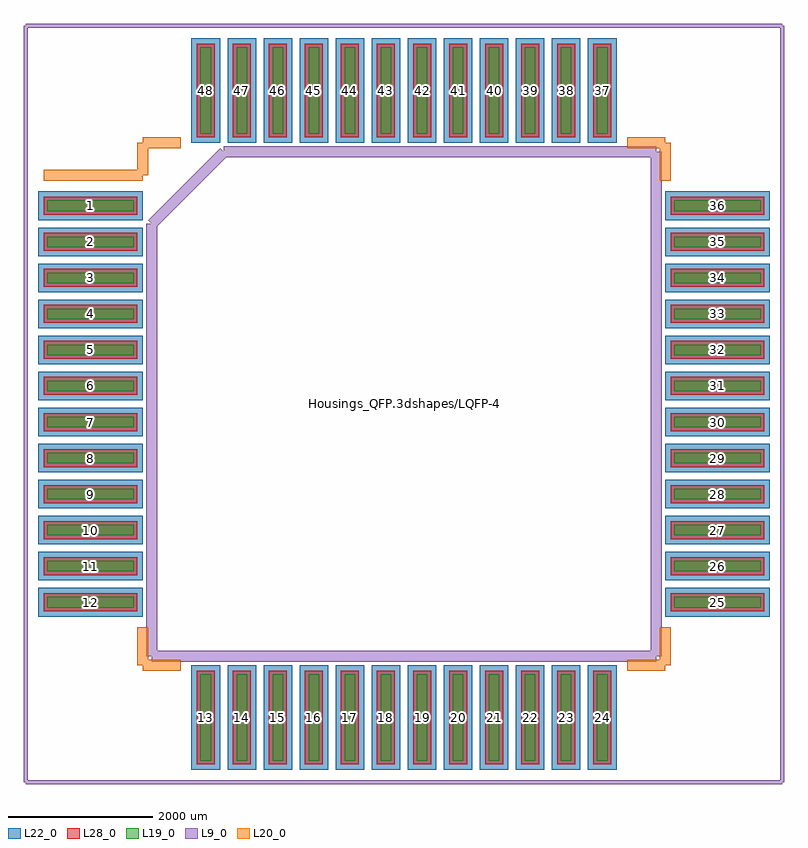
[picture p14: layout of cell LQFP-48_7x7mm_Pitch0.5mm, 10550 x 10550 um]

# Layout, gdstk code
import gdstk
lib = gdstk.Library(unit=1e-6, precision=1e-09)
def R(c, l, rs):  # rectangles x0, y0, x1, y1
    for r in rs: c.add(gdstk.rectangle(r[:2], r[2:], *l))
def A(c, l, x, y, w, h, nx, ny, dx, dy):  # array of equal rectangles
    R(c, l, [(x+i*dx, y+j*dy, x+i*dx+w, y+j*dy+h) for i in range(nx) for j in range(ny)])
L9_0 = (9, 0)
L19_0 = (19, 0)
L20_0 = (20, 0)
L22_0 = (22, 0)
L28_0 = (28, 0)

lqfp_48_7x7mm_pitch0_5mm = lib.new_cell('LQFP-48_7x7mm_Pitch0.5mm')
A(lqfp_48_7x7mm_pitch0_5mm, L19_0, -2825, -4950, 150, 1200, 12, 2, 500, 8700)
A(lqfp_48_7x7mm_pitch0_5mm, L19_0, -4950, -2825, 1200, 150, 1, 12, 0, 500)
A(lqfp_48_7x7mm_pitch0_5mm, L19_0, 3750, -2825, 1200, 150, 1, 12, 0, 500)
A(lqfp_48_7x7mm_pitch0_5mm, L22_0, -2950, -5075, 400, 1450, 12, 2, 500, 8700)
A(lqfp_48_7x7mm_pitch0_5mm, L22_0, -5075, -2950, 1450, 400, 1, 12, 0, 500)
A(lqfp_48_7x7mm_pitch0_5mm, L22_0, 3625, -2950, 1450, 400, 1, 12, 0, 500)
A(lqfp_48_7x7mm_pitch0_5mm, L28_0, -2875, -5000, 250, 1300, 12, 2, 500, 8700)
A(lqfp_48_7x7mm_pitch0_5mm, L28_0, -5000, -2875, 1300, 250, 1, 12, 0, 500)
A(lqfp_48_7x7mm_pitch0_5mm, L28_0, 3700, -2875, 1300, 250, 1, 12, 0, 500)
lqfp_48_7x7mm_pitch0_5mm.add(gdstk.FlexPath([(-3625,3175),(-5000,3175)], 149.998, ends="flush", simple_path=True, layer=20, datatype=0))  # L20_0
lqfp_48_7x7mm_pitch0_5mm.add(gdstk.FlexPath([(3625,3625),(3100,3625)], 149.998, ends="flush", simple_path=True, layer=20, datatype=0))  # L20_0
lqfp_48_7x7mm_pitch0_5mm.add(gdstk.FlexPath([(3625,-3625),(3100,-3625)], 149.998, ends="flush", simple_path=True, layer=20, datatype=0))  # L20_0
lqfp_48_7x7mm_pitch0_5mm.add(gdstk.FlexPath([(-3625,-3625),(-3100,-3625)], 149.998, ends="flush", simple_path=True, layer=20, datatype=0))  # L20_0
lqfp_48_7x7mm_pitch0_5mm.add(gdstk.FlexPath([(-3625,3625),(-3100,3625)], 149.998, ends="flush", simple_path=True, layer=20, datatype=0))  # L20_0
lqfp_48_7x7mm_pitch0_5mm.add(gdstk.FlexPath([(-3625,-3625),(-3625,-3100)], 149.998, ends="flush", simple_path=True, layer=20, datatype=0))  # L20_0
lqfp_48_7x7mm_pitch0_5mm.add(gdstk.FlexPath([(3625,-3625),(3625,-3100)], 149.998, ends="flush", simple_path=True, layer=20, datatype=0))  # L20_0
lqfp_48_7x7mm_pitch0_5mm.add(gdstk.FlexPath([(3625,3625),(3625,3100)], 149.998, ends="flush", simple_path=True, layer=20, datatype=0))  # L20_0
lqfp_48_7x7mm_pitch0_5mm.add(gdstk.FlexPath([(-3625,3625),(-3625,3175)], 149.998, ends="flush", simple_path=True, layer=20, datatype=0))  # L20_0
lqfp_48_7x7mm_pitch0_5mm.add(gdstk.FlexPath([(-5250,-5250),(5250,-5250)], 50, ends="flush", simple_path=True, layer=9, datatype=0))  # L9_0
lqfp_48_7x7mm_pitch0_5mm.add(gdstk.FlexPath([(-5250,5250),(5250,5250)], 50, ends="flush", simple_path=True, layer=9, datatype=0))  # L9_0
lqfp_48_7x7mm_pitch0_5mm.add(gdstk.FlexPath([(5250,5250),(5250,-5250)], 50, ends="flush", simple_path=True, layer=9, datatype=0))  # L9_0
lqfp_48_7x7mm_pitch0_5mm.add(gdstk.FlexPath([(-5250,5250),(-5250,-5250)], 50, ends="flush", simple_path=True, layer=9, datatype=0))  # L9_0
lqfp_48_7x7mm_pitch0_5mm.add(gdstk.FlexPath([(-3500,2500),(-2500,3500)], 149.998, ends="flush", simple_path=True, layer=9, datatype=0))  # L9_0
lqfp_48_7x7mm_pitch0_5mm.add(gdstk.FlexPath([(-3500,-3500),(-3500,2500)], 149.998, ends="flush", simple_path=True, layer=9, datatype=0))  # L9_0
lqfp_48_7x7mm_pitch0_5mm.add(gdstk.FlexPath([(3500,-3500),(-3500,-3500)], 149.998, ends="flush", simple_path=True, layer=9, datatype=0))  # L9_0
lqfp_48_7x7mm_pitch0_5mm.add(gdstk.FlexPath([(3500,3500),(3500,-3500)], 149.998, ends="flush", simple_path=True, layer=9, datatype=0))  # L9_0
lqfp_48_7x7mm_pitch0_5mm.add(gdstk.FlexPath([(-2500,3500),(3500,3500)], 149.998, ends="flush", simple_path=True, layer=9, datatype=0))  # L9_0
lqfp_48_7x7mm_pitch0_5mm.add(gdstk.Label('Housings_QFP.3dshapes/LQFP-48_7x7mm_Pitch0.5mm.wrl', (0,0), layer=12, texttype=0))
lqfp_48_7x7mm_pitch0_5mm.add(gdstk.Label('48', (-2750,4350), layer=28, texttype=0))
lqfp_48_7x7mm_pitch0_5mm.add(gdstk.Label('47', (-2250,4350), layer=28, texttype=0))
lqfp_48_7x7mm_pitch0_5mm.add(gdstk.Label('46', (-1750,4350), layer=28, texttype=0))
lqfp_48_7x7mm_pitch0_5mm.add(gdstk.Label('45', (-1250,4350), layer=28, texttype=0))
lqfp_48_7x7mm_pitch0_5mm.add(gdstk.Label('44', (-750,4350), layer=28, texttype=0))
lqfp_48_7x7mm_pitch0_5mm.add(gdstk.Label('43', (-250,4350), layer=28, texttype=0))
lqfp_48_7x7mm_pitch0_5mm.add(gdstk.Label('42', (250,4350), layer=28, texttype=0))
lqfp_48_7x7mm_pitch0_5mm.add(gdstk.Label('41', (750,4350), layer=28, texttype=0))
lqfp_48_7x7mm_pitch0_5mm.add(gdstk.Label('40', (1250,4350), layer=28, texttype=0))
lqfp_48_7x7mm_pitch0_5mm.add(gdstk.Label('39', (1750,4350), layer=28, texttype=0))
lqfp_48_7x7mm_pitch0_5mm.add(gdstk.Label('38', (2250,4350), layer=28, texttype=0))
lqfp_48_7x7mm_pitch0_5mm.add(gdstk.Label('37', (2750,4350), layer=28, texttype=0))
lqfp_48_7x7mm_pitch0_5mm.add(gdstk.Label('36', (4350,2750), layer=28, texttype=0))
lqfp_48_7x7mm_pitch0_5mm.add(gdstk.Label('35', (4350,2250), layer=28, texttype=0))
lqfp_48_7x7mm_pitch0_5mm.add(gdstk.Label('34', (4350,1750), layer=28, texttype=0))
lqfp_48_7x7mm_pitch0_5mm.add(gdstk.Label('33', (4350,1250), layer=28, texttype=0))
lqfp_48_7x7mm_pitch0_5mm.add(gdstk.Label('32', (4350,750), layer=28, texttype=0))
lqfp_48_7x7mm_pitch0_5mm.add(gdstk.Label('31', (4350,250), layer=28, texttype=0))
lqfp_48_7x7mm_pitch0_5mm.add(gdstk.Label('30', (4350,-250), layer=28, texttype=0))
lqfp_48_7x7mm_pitch0_5mm.add(gdstk.Label('29', (4350,-750), layer=28, texttype=0))
lqfp_48_7x7mm_pitch0_5mm.add(gdstk.Label('28', (4350,-1250), layer=28, texttype=0))
lqfp_48_7x7mm_pitch0_5mm.add(gdstk.Label('27', (4350,-1750), layer=28, texttype=0))
lqfp_48_7x7mm_pitch0_5mm.add(gdstk.Label('26', (4350,-2250), layer=28, texttype=0))
lqfp_48_7x7mm_pitch0_5mm.add(gdstk.Label('25', (4350,-2750), layer=28, texttype=0))
lqfp_48_7x7mm_pitch0_5mm.add(gdstk.Label('24', (2750,-4350), layer=28, texttype=0))
lqfp_48_7x7mm_pitch0_5mm.add(gdstk.Label('23', (2250,-4350), layer=28, texttype=0))
lqfp_48_7x7mm_pitch0_5mm.add(gdstk.Label('22', (1750,-4350), layer=28, texttype=0))
lqfp_48_7x7mm_pitch0_5mm.add(gdstk.Label('21', (1250,-4350), layer=28, texttype=0))
lqfp_48_7x7mm_pitch0_5mm.add(gdstk.Label('20', (750,-4350), layer=28, texttype=0))
lqfp_48_7x7mm_pitch0_5mm.add(gdstk.Label('19', (250,-4350), layer=28, texttype=0))
lqfp_48_7x7mm_pitch0_5mm.add(gdstk.Label('18', (-250,-4350), layer=28, texttype=0))
lqfp_48_7x7mm_pitch0_5mm.add(gdstk.Label('17', (-750,-4350), layer=28, texttype=0))
lqfp_48_7x7mm_pitch0_5mm.add(gdstk.Label('16', (-1250,-4350), layer=28, texttype=0))
lqfp_48_7x7mm_pitch0_5mm.add(gdstk.Label('15', (-1750,-4350), layer=28, texttype=0))
lqfp_48_7x7mm_pitch0_5mm.add(gdstk.Label('14', (-2250,-4350), layer=28, texttype=0))
lqfp_48_7x7mm_pitch0_5mm.add(gdstk.Label('13', (-2750,-4350), layer=28, texttype=0))
lqfp_48_7x7mm_pitch0_5mm.add(gdstk.Label('12', (-4350,-2750), layer=28, texttype=0))
lqfp_48_7x7mm_pitch0_5mm.add(gdstk.Label('11', (-4350,-2250), layer=28, texttype=0))
lqfp_48_7x7mm_pitch0_5mm.add(gdstk.Label('10', (-4350,-1750), layer=28, texttype=0))
lqfp_48_7x7mm_pitch0_5mm.add(gdstk.Label('9', (-4350,-1250), layer=28, texttype=0))
lqfp_48_7x7mm_pitch0_5mm.add(gdstk.Label('8', (-4350,-750), layer=28, texttype=0))
lqfp_48_7x7mm_pitch0_5mm.add(gdstk.Label('7', (-4350,-250), layer=28, texttype=0))
lqfp_48_7x7mm_pitch0_5mm.add(gdstk.Label('6', (-4350,250), layer=28, texttype=0))
lqfp_48_7x7mm_pitch0_5mm.add(gdstk.Label('5', (-4350,750), layer=28, texttype=0))
lqfp_48_7x7mm_pitch0_5mm.add(gdstk.Label('4', (-4350,1250), layer=28, texttype=0))
lqfp_48_7x7mm_pitch0_5mm.add(gdstk.Label('3', (-4350,1750), layer=28, texttype=0))
lqfp_48_7x7mm_pitch0_5mm.add(gdstk.Label('2', (-4350,2250), layer=28, texttype=0))
lqfp_48_7x7mm_pitch0_5mm.add(gdstk.Label('1', (-4350,2750), layer=28, texttype=0))
lqfp_48_7x7mm_pitch0_5mm.add(gdstk.Label('%R', (0,0), layer=9, texttype=0))
lqfp_48_7x7mm_pitch0_5mm.add(gdstk.Label('type', (0,-6000), layer=9, texttype=0))
lqfp_48_7x7mm_pitch0_5mm.add(gdstk.Label('devicename', (0,6000), layer=9, texttype=0))

lib.write_gds('LQFP-48_7x7mm_Pitch0.5mm.gds')
